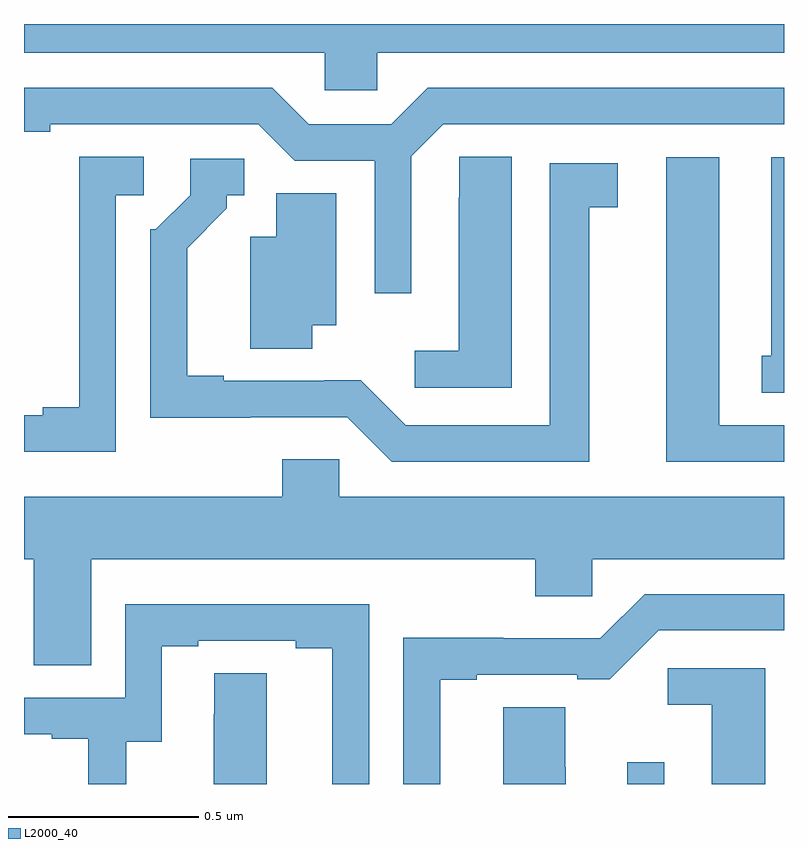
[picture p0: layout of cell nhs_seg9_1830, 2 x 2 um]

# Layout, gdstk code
import gdstk
lib = gdstk.Library(unit=1e-6, precision=1e-09)
def R(c, l, rs):  # rectangles x0, y0, x1, y1
    for r in rs: c.add(gdstk.rectangle(r[:2], r[2:], *l))
def P(c, l, *ps):  # polygons
    for p in ps: c.add(gdstk.Polygon(p, *l))
L2000_40 = (2000, 40)

nhs_seg9_1830 = lib.new_cell('nhs_seg9_1830')
R(nhs_seg9_1830, L2000_40, [(134.588,1190.5,134.685,1190.557)])
P(nhs_seg9_1830, L2000_40, [(133.929,1192.424),(135,1192.424),(135,1192.5),(133,1192.5),(133,1192.424),(133.791,1192.424),(133.791,1192.326),(133.929,1192.326)],
  [(134.019,1192.152),(134.103,1192.236),(135,1192.236),(135,1192.332),(134.063,1192.332),(133.967,1192.236),(133.749,1192.236),(133.653,1192.332),(133,1192.332),(133,1192.216),(133.069,1192.216),(133.069,1192.236),(133.617,1192.236),(133.713,1192.14),(133.923,1192.14),(133.923,1191.792),(134.019,1191.792)],
  [(133.242,1192.05),(133.315,1192.05),(133.315,1192.151),(133.145,1192.151),(133.145,1191.491),(133.049,1191.491),(133.049,1191.471),(133,1191.471),(133,1191.375),(133.242,1191.375)],
  [(134.284,1192.151),(134.145,1192.151),(134.145,1192.043),(134.144,1192.043),(134.144,1191.64),(134.028,1191.64),(134.028,1191.543),(134.284,1191.543)],
  [(135,1192.15),(134.966,1192.15),(134.966,1191.627),(134.942,1191.627),(134.942,1191.529),(135,1191.529)],
  [(135,1191.444),(134.83,1191.444),(134.83,1192.15),(134.69,1192.15),(134.69,1191.348),(135,1191.348)],
  [(134.488,1192.018),(134.563,1192.018),(134.563,1192.134),(134.384,1192.134),(134.384,1191.444),(134.004,1191.444),(133.886,1191.562),(133.79,1191.562),(133.79,1191.561),(133.525,1191.561),(133.525,1191.574),(133.429,1191.574),(133.429,1191.91),(133.534,1192.015),(133.534,1192.05),(133.579,1192.05),(133.579,1192.146),(133.437,1192.146),(133.437,1192.05),(133.347,1191.96),(133.332,1191.96),(133.332,1191.464),(133.595,1191.464),(133.595,1191.465),(133.851,1191.465),(133.968,1191.348),(134.488,1191.348)],
  [(133.759,1191.707),(133.822,1191.707),(133.822,1192.055),(133.664,1192.055),(133.664,1191.94),(133.595,1191.94),(133.595,1191.646),(133.759,1191.646)],
  [(133.679,1191.354),(133.679,1191.256),(133,1191.256),(133,1191.092),(133.025,1191.092),(133.025,1190.812),(133.177,1190.812),(133.177,1191.092),(134.345,1191.092),(134.345,1190.994),(134.496,1190.994),(134.496,1191.092),(135,1191.092),(135,1191.256),(133.83,1191.256),(133.83,1191.354)],
  [(134.095,1190.775),(134.191,1190.775),(134.191,1190.787),(134.456,1190.787),(134.456,1190.776),(134.542,1190.776),(134.67,1190.904),(135,1190.904),(135,1191),(134.634,1191),(134.517,1190.883),(134.261,1190.883),(134.261,1190.885),(133.998,1190.885),(133.998,1190.5),(134.095,1190.5)],
  [(133.269,1190.611),(133.363,1190.611),(133.363,1190.862),(133.459,1190.862),(133.459,1190.877),(133.715,1190.877),(133.715,1190.857),(133.811,1190.857),(133.811,1190.5),(133.908,1190.5),(133.908,1190.973),(133.266,1190.973),(133.266,1190.727),(133,1190.727),(133,1190.631),(133.073,1190.631),(133.073,1190.619),(133.169,1190.619),(133.169,1190.5),(133.269,1190.5)],
  [(134.95,1190.805),(134.694,1190.805),(134.694,1190.708),(134.81,1190.708),(134.81,1190.5),(134.95,1190.5)],
  [(133.639,1190.792),(133.5,1190.792),(133.5,1190.684),(133.499,1190.684),(133.499,1190.5),(133.639,1190.5)],
  [(134.425,1190.544),(134.424,1190.544),(134.424,1190.702),(134.261,1190.702),(134.261,1190.5),(134.425,1190.5)])

lib.write_gds('nhs_seg9_1830.gds')
